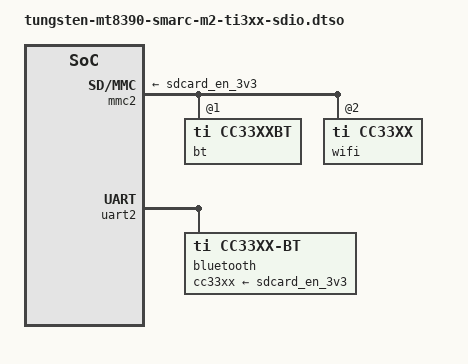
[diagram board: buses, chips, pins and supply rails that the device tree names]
// SPDX-License-Identifier: (GPL-2.0+ OR MIT)
/*
 * SDIO TI3xx module
 */

/dts-v1/;
/plugin/;

&sdcard_en_3v3 {
	startup-delay-us = <10000>;
	off-on-delay-us = <100>;
};

&mmc2 {
	status = "okay";
	cap-power-off-card;
	vmmc-supply = <&sdcard_en_3v3>;
	#address-cells = <1>;
	#size-cells = <0>;

	bt@1 {
		reg = <1>;
		compatible = "ti,cc33xxbt";
	};

	wifi@2 {
		reg = <2>;
		compatible = "ti,cc33xx";
	};
};

&uart2 {
	status = "okay";

	bluetooth {
		compatible = "ti,cc33xx-bt";
		cc33xx-supply = <&sdcard_en_3v3>;
		max-speed = <115200>;
	};
};
